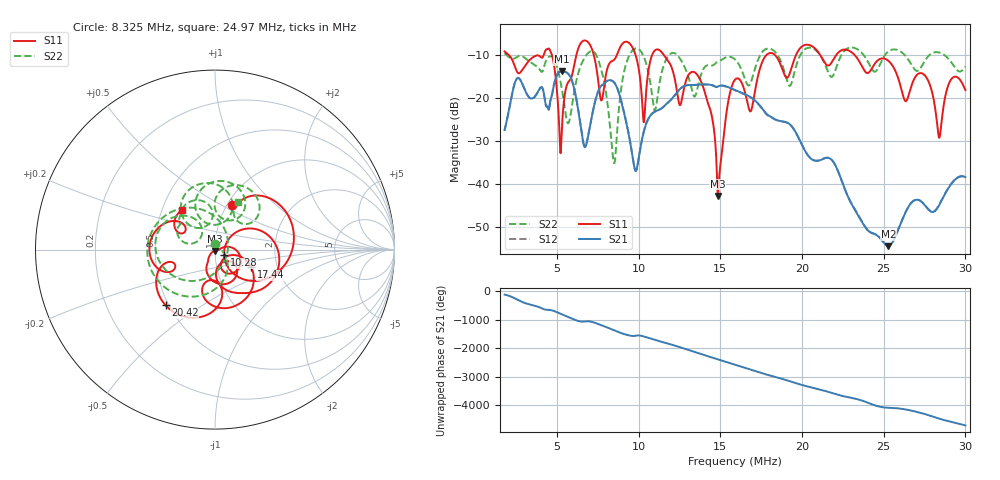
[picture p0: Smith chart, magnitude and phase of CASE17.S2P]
!Agilent Technologies,E5061B,MY49101568,A.02.00
!Date: Wed Mar 01 12:41:18 2023
!Data & Calibration Information:
!Freq	S11:SOLT2(OFF)	S21:SOLT2(OFF)	S12:SOLT2(OFF)	S22:SOLT2(OFF)
# Hz S dB R 50
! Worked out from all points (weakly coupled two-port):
!   1155 points, 1.8 MHz to 30 MHz, reference 50 ohm
!   highest |S21| = -13.78 dB at 5.294 MHz (marker M1); lowest = -54.5 dB at 25.28 MHz (marker M2)
!   lowest |S11| = -42.8 dB at 14.85 MHz (marker M3), VSWR 1.01, Z = 50 - j0.723 ohm
!   |S11| at or under -10 dB: 2.056 MHz to 4.193 MHz (2.137 MHz wide, 68.4 % of centre); 11.55 MHz to 17.82 MHz (6.278 MHz wide, 42.8 % of centre); 23.22 MHz to end of sweep (the widest 3 of 8)
!   |S22| runs from -35.2 to -8.2 dB; largest |S21 - S12| = 0.0025
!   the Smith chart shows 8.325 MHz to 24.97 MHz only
!   S11 on the Smith chart (normalised r, x): 8.325 MHz: 1.05, +0.56; 10.28 MHz: 1.10, -0.07; 17.44 MHz: 1.47, -0.30; 20.42 MHz: 0.48, -0.36; 24.97 MHz: 0.63, +0.30
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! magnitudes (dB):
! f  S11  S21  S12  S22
! 1.8 MHz  -9.2  -27.5  -27.4  -9.6
! 2.582 MHz  -14.0  -15.4  -15.4  -10.4
! 4.561 MHz  -8.8  -21.5  -21.5  -10.3
! 5.294 MHz  -28.0  -13.8  -13.8  -17.7
! 5.71 MHz  -16.2  -14.4  -14.5  -25.8
! 6.516 MHz  -7.0  -28.3  -28.0  -12.0
! 7.494 MHz  -15.0  -18.8  -18.8  -10.7
! 8.325 MHz  -11.5  -15.9  -15.9  -29.5
! 9.791 MHz  -9.7  -36.8  -36.9  -8.5
! 10.28 MHz  -24.6  -28.4  -28.4  -10.1
! 11.21 MHz  -8.7  -22.8  -22.8  -18.3
! 13.8 MHz  -16.0  -16.8  -16.9  -14.8
! 14.85 MHz  -42.8  -17.3  -17.4  -11.5
! 15.9 MHz  -15.7  -18.2  -18.2  -11.0
! 17.44 MHz  -13.0  -21.8  -21.9  -10.1
! 20.42 MHz  -7.6  -33.6  -33.6  -8.3
! 20.62 MHz  -8.0  -34.3  -34.3  -8.4
! 24.97 MHz  -10.8  -53.4  -53.5  -10.7
! 25.28 MHz  -11.3  -54.5  -54.4  -9.2
! 25.31 MHz  -11.4  -54.4  -54.4  -9.1
! 28.39 MHz  -29.2  -45.0  -44.9  -9.4
! 30 MHz  -18.2  -38.4  -38.4  -12.7
